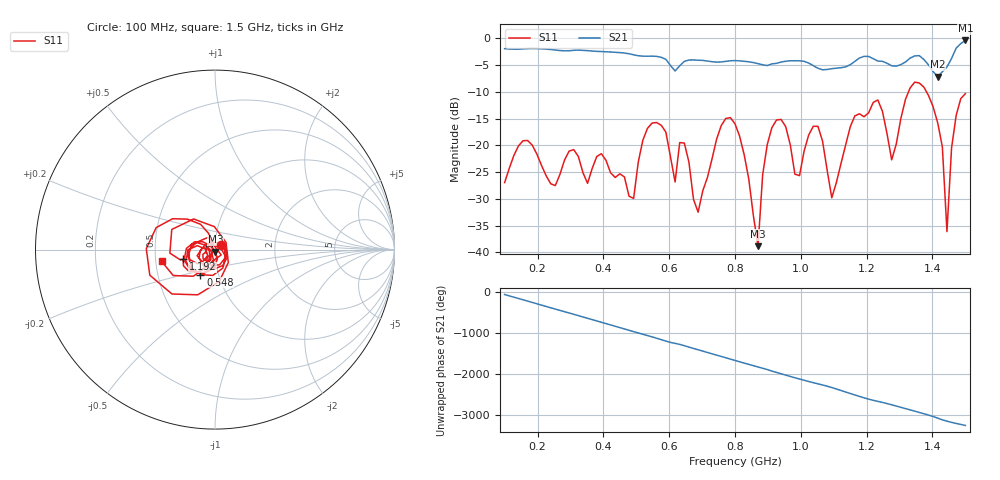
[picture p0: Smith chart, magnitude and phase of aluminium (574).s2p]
! NanoVNA-App
! Date: 2025-09-25 14:59:45
! Start: 100MHz Stop: 1,5GHz Points: 101
! S-Parameter data: F S11 S21 S12 S22
# Hz S RI R 50
!  Frequency  S11_Real  S11_Imag  S21_Real  S21_Imag  S12_Real  S12_Imag  S22_Real  S22_Imag
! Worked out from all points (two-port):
!   101 points, 100 MHz to 1.5 GHz, reference 50 ohm
!   highest |S21| = -0.39 dB at 1.5 GHz (marker M1); lowest = -7.1 dB at 1.416 GHz (marker M2)
!   |S21| within 3 dB of the highest: start of sweep to 563.9 MHz; 1.461 GHz to end of sweep (the widest 2 of 4)
!   lowest |S11| = -38.8 dB at 870 MHz (marker M3), VSWR 1.02, Z = 50.2 - j1.13 ohm
!   |S11| at or under -10 dB: start of sweep to 1.327 GHz; 1.382 GHz to end of sweep
!   S12 and S22 are empty: the file has one direction only
!   S11 on the Smith chart (normalised r, x): 100 MHz: 1.07, +0.06; 548 MHz: 0.82, -0.23; 1.192 GHz: 0.70, -0.08; 1.5 GHz: 0.54, -0.08
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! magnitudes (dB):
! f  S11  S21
! 100 MHz  -27.0  -1.9
! 156 MHz  -19.1  -2.0
! 338 MHz  -25.1  -2.2
! 492 MHz  -29.9  -3.1
! 548 MHz  -15.8  -3.3
! 576 MHz  -16.2  -3.5
! 646 MHz  -19.6  -4.3
! 688 MHz  -32.5  -4.1
! 800 MHz  -16.0  -4.1
! 870 MHz  -38.8  -4.7
! 912 MHz  -16.7  -4.8
! 996 MHz  -25.6  -4.2
! 1.038 GHz  -16.4  -5.1
! 1.094 GHz  -29.8  -5.7
! 1.192 GHz  -14.6  -3.4
! 1.234 GHz  -11.5  -4.2
! 1.276 GHz  -22.7  -5.1
! 1.346 GHz  -8.2  -3.3
! 1.416 GHz  -15.8  -7.1
! 1.444 GHz  -36.1  -5.3
! 1.458 GHz  -20.5  -3.7
! 1.5 GHz  -10.3  -0.4
